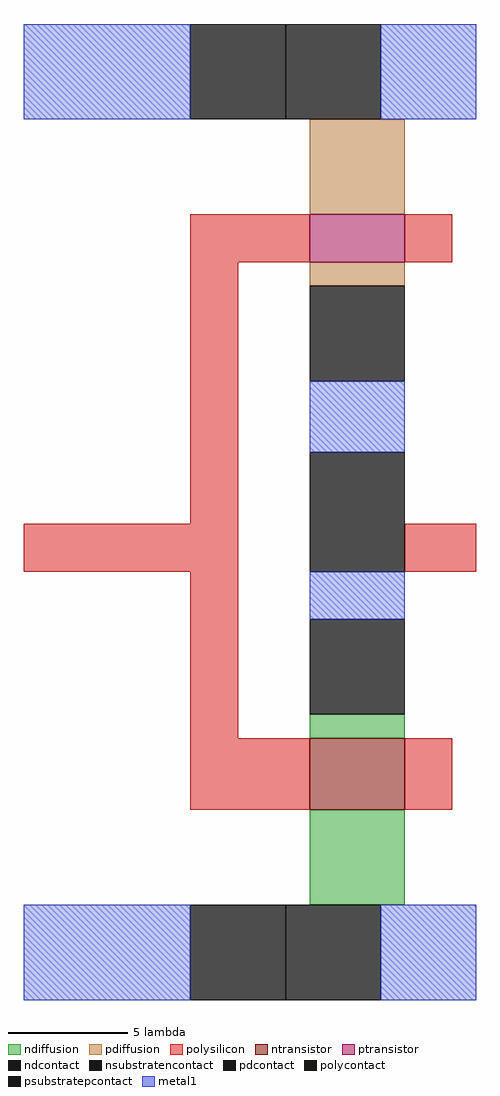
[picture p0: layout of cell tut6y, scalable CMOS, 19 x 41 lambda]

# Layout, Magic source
magic
tech scmos
<< polysilicon >>
rect 20 60 25 62
rect 29 60 31 62
rect 20 49 22 60
rect 13 47 22 49
rect 29 47 32 49
rect 20 40 22 47
rect 20 37 25 40
rect 29 37 31 40
<< ndiffusion >>
rect 25 40 29 41
rect 25 33 29 37
<< pdiffusion >>
rect 25 62 29 66
rect 25 59 29 60
<< metal1 >>
rect 13 66 20 70
rect 28 66 32 70
rect 25 52 29 55
rect 25 45 29 47
rect 13 29 20 33
rect 28 29 32 33
<< polycontact >>
rect 25 47 29 52
<< ndcontact >>
rect 25 41 29 45
rect 24 29 28 33
<< pdcontact >>
rect 24 66 28 70
rect 25 55 29 59
<< ntransistor >>
rect 25 37 29 40
<< ptransistor >>
rect 25 60 29 62
<< psubstratepcontact >>
rect 20 29 24 33
<< nsubstratencontact >>
rect 20 66 24 70
<< end >>
